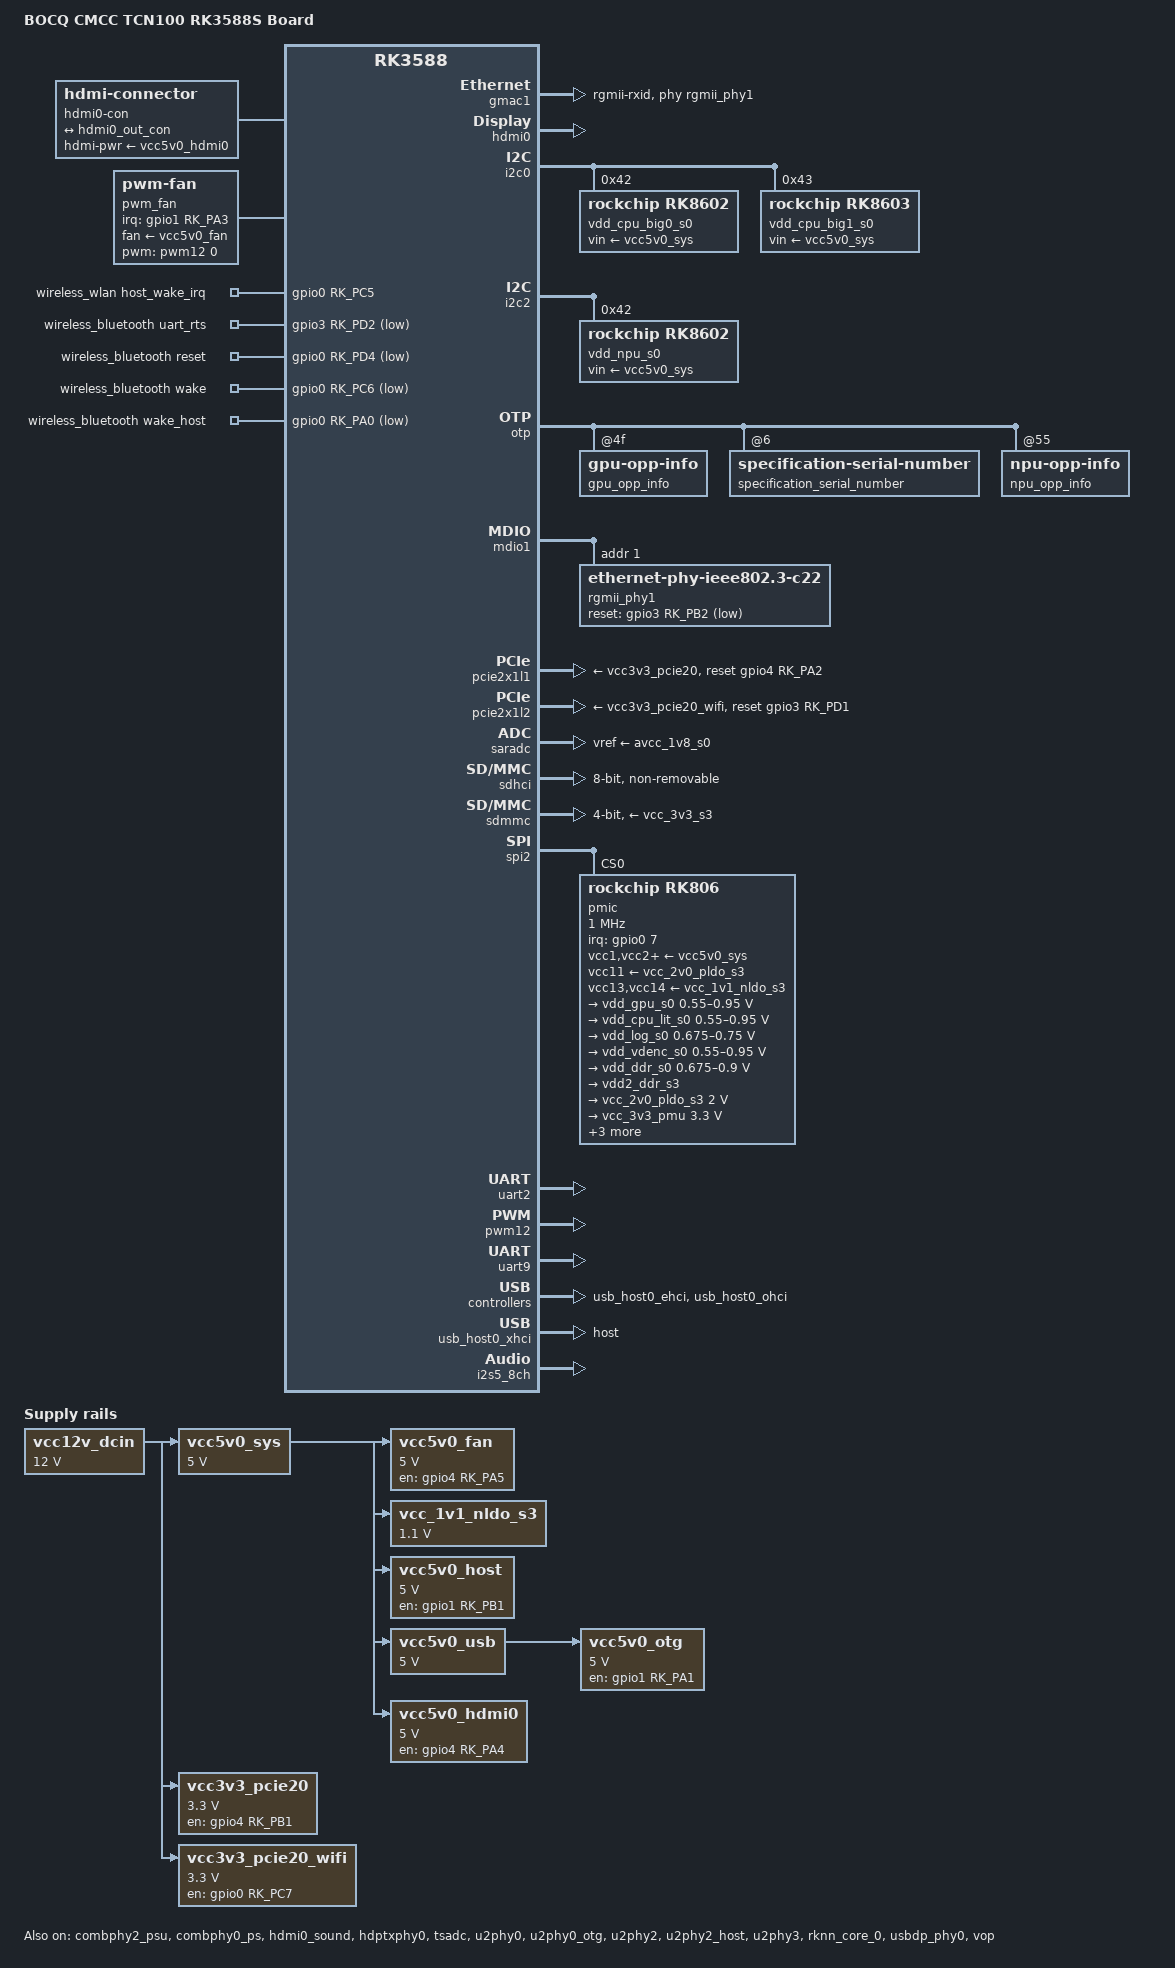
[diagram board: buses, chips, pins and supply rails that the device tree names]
// SPDX-License-Identifier: (GPL-2.0+ OR MIT)
/dts-v1/;

#include <dt-bindings/gpio/gpio.h>
#include <dt-bindings/pinctrl/rockchip.h>
#include <dt-bindings/pwm/pwm.h>
#include <dt-bindings/soc/rockchip,vop2.h>
#include "rk3588s.dtsi"
#include "rk3588-rk806-single.dtsi"
#include "rk3588-vngpu.dtsi"
#include "rk3588-vgnpu-supply.dtsi"
#include "rk3588-ramoops.dtsi"

/ {
	model = "BOCQ CMCC TCN100 RK3588S Board";
	compatible = "cmcc,tcn100", "rockchip,rk3588";

	aliases {
		ethernet0 = &gmac1;
		mmc0 = &sdhci;
		mmc1 = &sdmmc;
	};

	chosen {
		stdout-path = "serial2:1500000n8";
	};

	hdmi0-con {
		compatible = "hdmi-connector";
		type = "a";
		hdmi-pwr-supply = <&vcc5v0_hdmi0>;

		port {
			hdmi0_con_in: endpoint {
				remote-endpoint = <&hdmi0_out_con>;
			};
		};
	};

	vcc12v_dcin: regulator-vcc12v-dcin {
		compatible = "regulator-fixed";
		regulator-name = "vcc12v_dcin";
		regulator-min-microvolt = <12000000>;
		regulator-max-microvolt = <12000000>;
		regulator-always-on;
		regulator-boot-on;
	};

	vcc5v0_sys: regulator-vcc5v0-sys {
		compatible = "regulator-fixed";
		regulator-name = "vcc5v0_sys";
		regulator-min-microvolt = <5000000>;
		regulator-max-microvolt = <5000000>;
		regulator-always-on;
		regulator-boot-on;
		vin-supply = <&vcc12v_dcin>;
	};

	vcc5v0_fan: regulator-vcc5v0-fan {
		compatible = "regulator-fixed";
		regulator-name = "vcc5v0_fan";
		regulator-min-microvolt = <5000000>;
		regulator-max-microvolt = <5000000>;
		enable-active-high;
		regulator-boot-on;
		gpio = <&gpio4 RK_PA5 GPIO_ACTIVE_HIGH>;
		pinctrl-names = "default";
		pinctrl-0 = <&fan_en_pin>;
		vin-supply = <&vcc5v0_sys>;
	};

	vcc_1v1_nldo_s3: regulator-vcc-1v1-nldo-s3 {
		compatible = "regulator-fixed";
		regulator-name = "vcc_1v1_nldo_s3";
		regulator-always-on;
		regulator-boot-on;
		regulator-min-microvolt = <1100000>;
		regulator-max-microvolt = <1100000>;
		vin-supply = <&vcc5v0_sys>;
	};

	pwm_fan: pwm-fan {
		compatible = "pwm-fan";
		#cooling-cells = <2>;
		fan-supply = <&vcc5v0_fan>;
		pwms = <&pwm12 0 50000 PWM_POLARITY_INVERTED>;
		interrupt-parent = <&gpio1>;
		interrupts = <RK_PA3 IRQ_TYPE_EDGE_FALLING>;
		pulses-per-revolution = <2>;
		cooling-levels = <0 50 80 120 160 200 230 255>;
	};


	npu_grf: syscon@fd5a2000 {
		compatible = "rockchip,rk3588-npu-grf", "syscon";
		reg = <0x0 0xfd5a2000 0x0 0x100>;
	};

	npu_opp_table: npu-opp-table {
		compatible = "operating-points-v2";
		nvmem-cells = <&npu_leakage &npu_opp_info &cpu_code>;
		nvmem-cell-names = "leakage", "opp-info",
				   "specification_serial_number";
		rockchip,supported-hw;
		rockchip,pvtm-hw = <0x06>;
		rockchip,pvtm-voltage-sel-hw = <0x00 0x31f 0x00 0x320 0x333 0x01 0x334 0x34c
						0x02 0x34d 0x365 0x03 0x366 0x37e 0x04 0x37f
						0x270f 0x05>;
		rockchip,pvtm-voltage-sel = <0x00 0x32f 0x00 0x330 0x343 0x01 0x344 0x35c
					     0x02 0x35d 0x375 0x03 0x376 0x38e 0x04 0x38f
					     0x270f 0x05>;
		rockchip,pvtm-offset = <0x50>;
		rockchip,pvtm-sample-time = <0x44c>;
		rockchip,pvtm-freq = "\0\f5";
		rockchip,pvtm-volt = <0xb71b0>;
		rockchip,pvtm-ref-temp = <0x19>;
		rockchip,pvtm-temp-prop = <0xffffff8f 0xffffff8f>;
		rockchip,pvtm-thermal-zone = "npu-thermal";
		clocks = <&cru PCLK_NPU_ROOT>;
		clock-names = "pclk";
		rockchip,grf = <&npu_grf>;
		volt-mem-read-margin = <0xd0bd8 0x01 0xbac48 0x02 0xa4cb8 0x03 0x78d98 0x04>;
		low-volt-mem-read-margin = <0x04>;
		intermediate-threshold-freq = <0x7a120>;
		rockchip,init-freq = <0xf4240>;
		rockchip,temp-hysteresis = <0x1388>;
		rockchip,low-temp = <0x2710>;
		rockchip,low-temp-min-volt = <0xb71b0>;
		rockchip,high-temp = <0x14c08>;
		rockchip,high-temp-max-freq = "\0\f5";

		opp-300000000 {
			opp-supported-hw = <0xf9 0xffff>;
			opp-hz = <0x00 0x11e1a300>;
			opp-microvolt = <0xaae60 0xaae60 0xcf850 0xaae60 0xaae60 0xcf850>;
			opp-microvolt-L1 = <0xa7d8c 0xa7d8c 0xcf850 0xa7d8c 0xa7d8c 0xcf850>;
			opp-microvolt-L2 = <0xa4cb8 0xa4cb8 0xcf850 0xa4cb8 0xa4cb8 0xcf850>;
			opp-microvolt-L3 = <0xa4cb8 0xa4cb8 0xcf850 0xa4cb8 0xa4cb8 0xcf850>;
			opp-microvolt-L4 = <0xa4cb8 0xa4cb8 0xcf850 0xa4cb8 0xa4cb8 0xcf850>;
			opp-microvolt-L5 = <0xa4cb8 0xa4cb8 0xcf850 0xa4cb8 0xa4cb8 0xcf850>;
		};

		opp-400000000 {
			opp-supported-hw = <0xf9 0xffff>;
			opp-hz = <0x00 0x17d78400>;
			opp-microvolt = <0xaae60 0xaae60 0xcf850 0xaae60 0xaae60 0xcf850>;
			opp-microvolt-L1 = <0xa7d8c 0xa7d8c 0xcf850 0xa7d8c 0xa7d8c 0xcf850>;
			opp-microvolt-L2 = <0xa4cb8 0xa4cb8 0xcf850 0xa4cb8 0xa4cb8 0xcf850>;
			opp-microvolt-L3 = <0xa4cb8 0xa4cb8 0xcf850 0xa4cb8 0xa4cb8 0xcf850>;
			opp-microvolt-L4 = <0xa4cb8 0xa4cb8 0xcf850 0xa4cb8 0xa4cb8 0xcf850>;
			opp-microvolt-L5 = <0xa4cb8 0xa4cb8 0xcf850 0xa4cb8 0xa4cb8 0xcf850>;
		};

		opp-500000000 {
			opp-supported-hw = <0xf9 0xffff>;
			opp-hz = <0x00 0x1dcd6500>;
			opp-microvolt = <0xaae60 0xaae60 0xcf850 0xaae60 0xaae60 0xcf850>;
			opp-microvolt-L1 = <0xa7d8c 0xa7d8c 0xcf850 0xa7d8c 0xa7d8c 0xcf850>;
			opp-microvolt-L2 = <0xa4cb8 0xa4cb8 0xcf850 0xa4cb8 0xa4cb8 0xcf850>;
			opp-microvolt-L3 = <0xa4cb8 0xa4cb8 0xcf850 0xa4cb8 0xa4cb8 0xcf850>;
			opp-microvolt-L4 = <0xa4cb8 0xa4cb8 0xcf850 0xa4cb8 0xa4cb8 0xcf850>;
			opp-microvolt-L5 = <0xa4cb8 0xa4cb8 0xcf850 0xa4cb8 0xa4cb8 0xcf850>;
		};

		opp-600000000 {
			opp-supported-hw = <0xf9 0xffff>;
			opp-hz = <0x00 0x23c34600>;
			opp-microvolt = <0xaae60 0xaae60 0xcf850 0xaae60 0xaae60 0xcf850>;
			opp-microvolt-L1 = <0xa7d8c 0xa7d8c 0xcf850 0xa7d8c 0xa7d8c 0xcf850>;
			opp-microvolt-L2 = <0xa4cb8 0xa4cb8 0xcf850 0xa4cb8 0xa4cb8 0xcf850>;
			opp-microvolt-L3 = <0xa4cb8 0xa4cb8 0xcf850 0xa4cb8 0xa4cb8 0xcf850>;
			opp-microvolt-L4 = <0xa4cb8 0xa4cb8 0xcf850 0xa4cb8 0xa4cb8 0xcf850>;
			opp-microvolt-L5 = <0xa4cb8 0xa4cb8 0xcf850 0xa4cb8 0xa4cb8 0xcf850>;
		};

		opp-700000000 {
			opp-supported-hw = <0xf9 0xffff>;
			opp-hz = <0x00 0x29b92700>;
			opp-microvolt = <0xaae60 0xaae60 0xcf850 0xaae60 0xaae60 0xcf850>;
			opp-microvolt-L3 = <0xa7d8c 0xa7d8c 0xcf850 0xa7d8c 0xa7d8c 0xcf850>;
			opp-microvolt-L4 = <0xa4cb8 0xa4cb8 0xcf850 0xa4cb8 0xa4cb8 0xcf850>;
			opp-microvolt-L5 = <0xa4cb8 0xa4cb8 0xcf850 0xa4cb8 0xa4cb8 0xcf850>;
		};

		opp-800000000 {
			opp-supported-hw = <0xf9 0xffff>;
			opp-hz = <0x00 0x2faf0800>;
			opp-microvolt = <0xb71b0 0xb71b0 0xcf850 0xb71b0 0xb71b0 0xcf850>;
			opp-microvolt-L2 = <0xb40dc 0xb40dc 0xcf850 0xb40dc 0xb40dc 0xcf850>;
			opp-microvolt-L3 = <0xb1008 0xb1008 0xcf850 0xb1008 0xb1008 0xcf850>;
			opp-microvolt-L4 = <0xadf34 0xadf34 0xcf850 0xadf34 0xadf34 0xcf850>;
			opp-microvolt-L5 = <0xaae60 0xaae60 0xcf850 0xaae60 0xaae60 0xcf850>;
		};

		opp-900000000 {
			opp-supported-hw = <0xf9 0xffff>;
			opp-hz = <0x00 0x35a4e900>;
			opp-microvolt = <0xc3500 0xc3500 0xcf850 0xc3500 0xc3500 0xcf850>;
			opp-microvolt-L1 = <0xc042c 0xc042c 0xcf850 0xc042c 0xc042c 0xcf850>;
			opp-microvolt-L2 = <0xbd358 0xbd358 0xcf850 0xbd358 0xbd358 0xcf850>;
			opp-microvolt-L3 = <0xba284 0xba284 0xcf850 0xba284 0xba284 0xcf850>;
			opp-microvolt-L4 = <0xb71b0 0xb71b0 0xcf850 0xb71b0 0xb71b0 0xcf850>;
			opp-microvolt-L5 = <0xb40dc 0xb40dc 0xcf850 0xb40dc 0xb40dc 0xcf850>;
		};

		opp-1000000000 {
			opp-supported-hw = <0xf9 0xffff>;
			opp-hz = <0x00 0x3b9aca00>;
			opp-microvolt = <0xcf850 0xcf850 0xcf850 0xcf850 0xcf850 0xcf850>;
			opp-microvolt-L1 = <0xcc77c 0xcc77c 0xcf850 0xcc77c 0xcc77c 0xcf850>;
			opp-microvolt-L2 = <0xc96a8 0xc96a8 0xcf850 0xc96a8 0xc96a8 0xcf850>;
			opp-microvolt-L3 = <0xc65d4 0xc65d4 0xcf850 0xc65d4 0xc65d4 0xcf850>;
			opp-microvolt-L4 = <0xc3500 0xc3500 0xcf850 0xc3500 0xc3500 0xcf850>;
			opp-microvolt-L5 = <0xc042c 0xc042c 0xcf850 0xc042c 0xc042c 0xcf850>;
		};

		opp-j-m-300000000 {
			opp-supported-hw = <0x06 0xffff>;
			opp-hz = <0x00 0x11e1a300>;
			opp-microvolt = <0xb71b0 0xb71b0 0xcf850 0xb71b0 0xb71b0 0xcf850>;
		};

		opp-j-m-400000000 {
			opp-supported-hw = <0x06 0xffff>;
			opp-hz = <0x00 0x17d78400>;
			opp-microvolt = <0xb71b0 0xb71b0 0xcf850 0xb71b0 0xb71b0 0xcf850>;
		};

		opp-j-m-500000000 {
			opp-supported-hw = <0x06 0xffff>;
			opp-hz = <0x00 0x1dcd6500>;
			opp-microvolt = <0xb71b0 0xb71b0 0xcf850 0xb71b0 0xb71b0 0xcf850>;
		};

		opp-j-m-600000000 {
			opp-supported-hw = <0x06 0xffff>;
			opp-hz = <0x00 0x23c34600>;
			opp-microvolt = <0xb71b0 0xb71b0 0xcf850 0xb71b0 0xb71b0 0xcf850>;
		};

		opp-j-m-700000000 {
			opp-supported-hw = <0x06 0xffff>;
			opp-hz = <0x00 0x29b92700>;
			opp-microvolt = <0xb71b0 0xb71b0 0xcf850 0xb71b0 0xb71b0 0xcf850>;
		};

		opp-j-m-800000000 {
			opp-supported-hw = <0x06 0xffff>;
			opp-hz = <0x00 0x2faf0800>;
			opp-microvolt = <0xb71b0 0xb71b0 0xcf850 0xb71b0 0xb71b0 0xcf850>;
		};

		opp-j-m-950000000 {
			opp-supported-hw = <0x06 0xffff>;
			opp-hz = <0x00 0x389fd980>;
			opp-microvolt = <0xcc77c 0xcc77c 0xcf850 0xcc77c 0xcc77c 0xcf850>;
			opp-microvolt-L1 = <0xc96a8 0xc96a8 0xcf850 0xc96a8 0xc96a8 0xcf850>;
			opp-microvolt-L2 = <0xc65d4 0xc65d4 0xcf850 0xc65d4 0xc65d4 0xcf850>;
			opp-microvolt-L3 = <0xc3500 0xc3500 0xcf850 0xc3500 0xc3500 0xcf850>;
			opp-microvolt-L4 = <0xc042c 0xc042c 0xcf850 0xc042c 0xc042c 0xcf850>;
			opp-microvolt-L5 = <0xbd358 0xbd358 0xcf850 0xbd358 0xbd358 0xcf850>;
		};
	};

	vcc5v0_host: regulator-vcc5v0-host {
		compatible = "regulator-fixed";
		regulator-name = "vcc5v0_host";
		regulator-min-microvolt = <5000000>;
		regulator-max-microvolt = <5000000>;
		regulator-always-on;
		regulator-boot-on;
		enable-active-high;
		gpio = <&gpio1 RK_PB1 GPIO_ACTIVE_HIGH>;
		pinctrl-names = "default";
		pinctrl-0 = <&vcc5v0_host_en>;
		vin-supply = <&vcc5v0_sys>;
	};

	vcc5v0_otg: regulator-vcc5v0-otg {
		compatible = "regulator-fixed";
		regulator-name = "vcc5v0_otg";
		regulator-min-microvolt = <5000000>;
		regulator-max-microvolt = <5000000>;
		enable-active-high;
		regulator-boot-on;
		regulator-always-on;
		vin-supply = <&vcc5v0_usb>;
		gpio = <&gpio1 RK_PA1 GPIO_ACTIVE_HIGH>;
		pinctrl-names = "default";
		pinctrl-0 = <&vcc5v0_otg_en>;
	};
	vcc5v0_usb: regulator-vcc5v0-usb {
		compatible = "regulator-fixed";
		regulator-name = "vcc5v0_usb";
		regulator-min-microvolt = <5000000>;
		regulator-max-microvolt = <5000000>;
		regulator-always-on;
		regulator-boot-on;
		vin-supply = <&vcc5v0_sys>;
	};

	vcc3v3_pcie20: regulator-vcc3v3-pcie20 {
		compatible = "regulator-fixed";
		regulator-name = "vcc3v3_pcie20";
		regulator-min-microvolt = <3300000>;
		regulator-max-microvolt = <3300000>;
		enable-active-high;
		gpios = <&gpio4 RK_PB1 GPIO_ACTIVE_HIGH>;
		startup-delay-us = <5000>;
		vin-supply = <&vcc12v_dcin>;
	};

	vcc3v3_pcie20_wifi: regulator-vcc3v3-pcie20-wifi {
		compatible = "regulator-fixed";
		regulator-name = "vcc3v3_pcie20_wifi";
		regulator-min-microvolt = <3300000>;
		regulator-max-microvolt = <3300000>;
		enable-active-high;
		gpio = <&gpio0 RK_PC7 GPIO_ACTIVE_HIGH>;
		startup-delay-us = <5000>;
		vin-supply = <&vcc12v_dcin>;
	};

	vcc5v0_hdmi0: regulator-vcc5v0-hdmi0 {
		compatible = "regulator-fixed";
		regulator-name = "vcc5v0_hdmi0";
		regulator-min-microvolt = <5000000>;
		regulator-max-microvolt = <5000000>;
		enable-active-high;
		regulator-boot-on;
		regulator-always-on;
		gpio = <&gpio4 RK_PA4 GPIO_ACTIVE_HIGH>;
		pinctrl-names = "default";
		pinctrl-0 = <&hdmi0_pwr_en>;
		vin-supply = <&vcc5v0_sys>;
	};

	wireless_wlan: wireless-wlan {
		compatible = "wlan-platdata";
		wifi_chip_type = "rtl8852be";
		pinctrl-names = "default";
		pinctrl-0 = <&wifi_host_wake_irq>;
		WIFI,host_wake_irq = <&gpio0 RK_PC5 GPIO_ACTIVE_HIGH>;
		status = "okay";
	};

	wireless_bluetooth: wireless-bluetooth {
		compatible = "bluetooth-platdata";
		uart_rts_gpios = <&gpio3 RK_PD2 GPIO_ACTIVE_LOW>;
		pinctrl-names = "default", "rts_gpio";
		pinctrl-0 = <&uart9m2_xfer &bt_reset_gpio &bt_wake_gpio &bt_irq_gpio>;
		pinctrl-1 = <&uart9m2_gpios>;
		uart-handle = <&uart9>;
		BT,reset_gpio = <&gpio0 RK_PD4 GPIO_ACTIVE_LOW>;
		BT,wake_gpio = <&gpio0 RK_PC6 GPIO_ACTIVE_LOW>;
		BT,wake_host_gpio = <&gpio0 RK_PA0 GPIO_ACTIVE_LOW>;
		status = "okay";
	};
};

&combphy2_psu {
	status = "okay";
};

&combphy0_ps {
	status = "okay";
};

&cpu_b0 {
	cpu-supply = <&vdd_cpu_big0_s0>;
};

&cpu_b1 {
	cpu-supply = <&vdd_cpu_big0_s0>;
};

&cpu_b2 {
	cpu-supply = <&vdd_cpu_big1_s0>;
};

&cpu_b3 {
	cpu-supply = <&vdd_cpu_big1_s0>;
};

&cpu_l0 {
	cpu-supply = <&vdd_cpu_lit_s0>;
};

&cpu_l1 {
	cpu-supply = <&vdd_cpu_lit_s0>;
};

&cpu_l2 {
	cpu-supply = <&vdd_cpu_lit_s0>;
};

&cpu_l3 {
	cpu-supply = <&vdd_cpu_lit_s0>;
};


&gpu_opp_table {
	compatible = "operating-points-v2";
	nvmem-cells = <&gpu_leakage &gpu_opp_info &cpu_code>;
	nvmem-cell-names = "leakage", "opp-info",
			   "specification_serial_number";
	/delete-property/ rockchip,supported-hw;
	rockchip,pvtm-hw = <0x04>;
	rockchip,pvtm-voltage-sel-hw = <0x00 0x31f 0x00 0x320 0x333 0x01 0x334 0x34c
					0x02 0x34d 0x365 0x03 0x366 0x37e 0x04 0x37f
					0x270f 0x05>;
	rockchip,pvtm-voltage-sel = <0x00 0x32f 0x00 0x330 0x343 0x01 0x344 0x35c
				     0x02 0x35d 0x375 0x03 0x376 0x38e 0x04 0x38f
				     0x270f 0x05>;
	rockchip,pvtm-pvtpll;
	rockchip,pvtm-offset = <0x1c>;
	rockchip,pvtm-sample-time = <0x44c>;
	rockchip,pvtm-freq = "\0\f5";
	rockchip,pvtm-volt = <0xb71b0>;
	rockchip,pvtm-ref-temp = <0x19>;
	rockchip,pvtm-temp-prop = <0xffffff79 0xffffff79>;
	rockchip,pvtm-thermal-zone = "gpu-thermal";
	clocks = <&cru CLK_GPU>;
	clock-names = "clk";
	rockchip,grf = <&sys_grf>;
	volt-mem-read-margin = <0xd0bd8 0x01 0xbac48 0x02 0xa4cb8 0x03 0x78d98 0x04>;
	low-volt-mem-read-margin = <0x04>;
	intermediate-threshold-freq = <0x61a80>;
	rockchip,temp-hysteresis = <0x1388>;
	rockchip,low-temp = <0x2710>;
	rockchip,low-temp-min-volt = <0xb71b0>;
	rockchip,high-temp = <0x14c08>;
	rockchip,high-temp-max-freq = "\0\f5";

	/delete-node/ opp-300000000;
	/delete-node/ opp-400000000;
	/delete-node/ opp-500000000;
	/delete-node/ opp-600000000;
	/delete-node/ opp-700000000;
	/delete-node/ opp-800000000;
	/delete-node/ opp-900000000;
	/delete-node/ opp-1000000000;

	opp-300000000 {
		/delete-property/ opp-supported-hw;
		opp-hz = /bits/ 64 <300000000>;
		opp-microvolt = <0xa4cb8 0xa4cb8 0xcf850 0xa4cb8 0xa4cb8 0xcf850>;
	};

	opp-400000000 {
		/delete-property/ opp-supported-hw;
		opp-hz = /bits/ 64 <400000000>;
		opp-microvolt = <0xa4cb8 0xa4cb8 0xcf850 0xa4cb8 0xa4cb8 0xcf850>;
	};

	opp-500000000 {
		/delete-property/ opp-supported-hw;
		opp-hz = /bits/ 64 <500000000>;
		opp-microvolt = <0xa4cb8 0xa4cb8 0xcf850 0xa4cb8 0xa4cb8 0xcf850>;
	};

	opp-600000000 {
		/delete-property/ opp-supported-hw;
		opp-hz = /bits/ 64 <600000000>;
		opp-microvolt = <0xa4cb8 0xa4cb8 0xcf850 0xa4cb8 0xa4cb8 0xcf850>;
	};

	opp-700000000 {
		/delete-property/ opp-supported-hw;
		opp-hz = /bits/ 64 <700000000>;
		opp-microvolt = <0xaae60 0xaae60 0xcf850 0xaae60 0xaae60 0xcf850>;
		opp-microvolt-L2 = <0xa7d8c 0xa7d8c 0xcf850 0xa7d8c 0xa7d8c 0xcf850>;
		opp-microvolt-L3 = <0xa4cb8 0xa4cb8 0xcf850 0xa4cb8 0xa4cb8 0xcf850>;
		opp-microvolt-L4 = <0xa4cb8 0xa4cb8 0xcf850 0xa4cb8 0xa4cb8 0xcf850>;
		opp-microvolt-L5 = <0xa4cb8 0xa4cb8 0xcf850 0xa4cb8 0xa4cb8 0xcf850>;
	};

	opp-800000000 {
		/delete-property/ opp-supported-hw;
		opp-hz = /bits/ 64 <800000000>;
		opp-microvolt = <0xb71b0 0xb71b0 0xcf850 0xb71b0 0xb71b0 0xcf850>;
		opp-microvolt-L1 = <0xb40dc 0xb40dc 0xcf850 0xb40dc 0xb40dc 0xcf850>;
		opp-microvolt-L2 = <0xb1008 0xb1008 0xcf850 0xb1008 0xb1008 0xcf850>;
		opp-microvolt-L3 = <0xadf34 0xadf34 0xcf850 0xadf34 0xadf34 0xcf850>;
		opp-microvolt-L4 = <0xaae60 0xaae60 0xcf850 0xaae60 0xaae60 0xcf850>;
		opp-microvolt-L5 = <0xaae60 0xaae60 0xcf850 0xaae60 0xaae60 0xcf850>;
	};

	opp-900000000 {
		/delete-property/ opp-supported-hw;
		opp-hz = /bits/ 64 <900000000>;
		opp-microvolt = <0xc3500 0xc3500 0xcf850 0xc3500 0xc3500 0xcf850>;
		opp-microvolt-L1 = <0xc042c 0xc042c 0xcf850 0xc042c 0xc042c 0xcf850>;
		opp-microvolt-L2 = <0xbd358 0xbd358 0xcf850 0xbd358 0xbd358 0xcf850>;
		opp-microvolt-L3 = <0xba284 0xba284 0xcf850 0xba284 0xba284 0xcf850>;
		opp-microvolt-L4 = <0xb71b0 0xb71b0 0xcf850 0xb71b0 0xb71b0 0xcf850>;
		opp-microvolt-L5 = <0xb40dc 0xb40dc 0xcf850 0xb40dc 0xb40dc 0xcf850>;
	};

	opp-1000000000 {
		/delete-property/ opp-supported-hw;
		opp-hz = /bits/ 64 <1000000000>;
		opp-microvolt = <0xcf850 0xcf850 0xcf850 0xcf850 0xcf850 0xcf850>;
		opp-microvolt-L1 = <0xcc77c 0xcc77c 0xcf850 0xcc77c 0xcc77c 0xcf850>;
		opp-microvolt-L2 = <0xc96a8 0xc96a8 0xcf850 0xc96a8 0xc96a8 0xcf850>;
		opp-microvolt-L3 = <0xc65d4 0xc65d4 0xcf850 0xc65d4 0xc65d4 0xcf850>;
		opp-microvolt-L4 = <0xc3500 0xc3500 0xcf850 0xc3500 0xc3500 0xcf850>;
		opp-microvolt-L5 = <0xc042c 0xc042c 0xcf850 0xc042c 0xc042c 0xcf850>;
	};

	opp-j-m-300000000 {
		/delete-property/ opp-supported-hw;
		opp-hz = /bits/ 64 <300000000>;
		opp-microvolt = <0xb71b0 0xb71b0 0xcf850 0xb71b0 0xb71b0 0xcf850>;
	};

	opp-j-m-400000000 {
		/delete-property/ opp-supported-hw;
		opp-hz = /bits/ 64 <400000000>;
		opp-microvolt = <0xb71b0 0xb71b0 0xcf850 0xb71b0 0xb71b0 0xcf850>;
	};

	opp-j-m-500000000 {
		/delete-property/ opp-supported-hw;
		opp-hz = /bits/ 64 <500000000>;
		opp-microvolt = <0xb71b0 0xb71b0 0xcf850 0xb71b0 0xb71b0 0xcf850>;
	};

	opp-j-m-600000000 {
		/delete-property/ opp-supported-hw;
		opp-hz = /bits/ 64 <600000000>;
		opp-microvolt = <0xb71b0 0xb71b0 0xcf850 0xb71b0 0xb71b0 0xcf850>;
	};

	opp-j-m-700000000 {
		/delete-property/ opp-supported-hw;
		opp-hz = /bits/ 64 <700000000>;
		opp-microvolt = <0xb71b0 0xb71b0 0xcf850 0xb71b0 0xb71b0 0xcf850>;
	};

	opp-j-850000000 {
		/delete-property/ opp-supported-hw;
		opp-hz = /bits/ 64 <850000000>;
		opp-microvolt = <0xc042c 0xc042c 0xcf850 0xc042c 0xc042c 0xcf850>;
		opp-microvolt-L1 = <0xbd358 0xbd358 0xcf850 0xbd358 0xbd358 0xcf850>;
		opp-microvolt-L2 = <0xba284 0xba284 0xcf850 0xba284 0xba284 0xcf850>;
		opp-microvolt-L3 = <0xb71b0 0xb71b0 0xcf850 0xb71b0 0xb71b0 0xcf850>;
		opp-microvolt-L4 = <0xb71b0 0xb71b0 0xcf850 0xb71b0 0xb71b0 0xcf850>;
		opp-microvolt-L5 = <0xb71b0 0xb71b0 0xcf850 0xb71b0 0xb71b0 0xcf850>;
	};

	opp-m-800000000 {
		/delete-property/ opp-supported-hw;
		opp-hz = /bits/ 64 <800000000>;
		opp-microvolt = <0xb71b0 0xb71b0 0xcf850 0xb71b0 0xb71b0 0xcf850>;
	};

	opp-m-900000000 {
		/delete-property/ opp-supported-hw;
		opp-hz = /bits/ 64 <900000000>;
		opp-microvolt = <0xc3500 0xc3500 0xcf850 0xc3500 0xc3500 0xcf850>;
		opp-microvolt-L1 = <0xc042c 0xc042c 0xcf850 0xc042c 0xc042c 0xcf850>;
		opp-microvolt-L2 = <0xbd358 0xbd358 0xcf850 0xbd358 0xbd358 0xcf850>;
		opp-microvolt-L3 = <0xba284 0xba284 0xcf850 0xba284 0xba284 0xcf850>;
		opp-microvolt-L4 = <0xb71b0 0xb71b0 0xcf850 0xb71b0 0xb71b0 0xcf850>;
		opp-microvolt-L5 = <0xb71b0 0xb71b0 0xcf850 0xb71b0 0xb71b0 0xcf850>;
	};

	opp-m-1000000000 {
		/delete-property/ opp-supported-hw;
		opp-hz = /bits/ 64 <1000000000>;
		opp-microvolt = <0xcf850 0xcf850 0xcf850 0xcf850 0xcf850 0xcf850>;
		opp-microvolt-L1 = <0xcc77c 0xcc77c 0xcf850 0xcc77c 0xcc77c 0xcf850>;
		opp-microvolt-L2 = <0xc96a8 0xc96a8 0xcf850 0xc96a8 0xc96a8 0xcf850>;
		opp-microvolt-L3 = <0xc65d4 0xc65d4 0xcf850 0xc65d4 0xc65d4 0xcf850>;
		opp-microvolt-L4 = <0xc3500 0xc3500 0xcf850 0xc3500 0xc3500 0xcf850>;
		opp-microvolt-L5 = <0xc042c 0xc042c 0xcf850 0xc042c 0xc042c 0xcf850>;
	};
};

&gmac1 {
	clock_in_out = "output";
	phy-handle = <&rgmii_phy1>;
	phy-mode = "rgmii-rxid";
	pinctrl-0 = <&gmac1_miim
		     &gmac1_tx_bus2
		     &gmac1_rx_bus2
		     &gmac1_rgmii_clk
		     &gmac1_rgmii_bus>;
	pinctrl-names = "default";
	tx_delay = <0x45>;
	status = "okay";
};

&hdmi0 {
	pinctrl-0 = <&hdmim0_tx0_cec
		     &hdmim0_tx0_hpd
		     &hdmim0_tx0_scl
		     &hdmim0_tx0_sda>;
	pinctrl-names = "default";
	enable-gpios = <&gpio4 RK_PB2 GPIO_ACTIVE_HIGH>;
	status = "okay";
};

&hdmi0_in {
	hdmi0_in_vp0: endpoint {
		remote-endpoint = <&vp0_out_hdmi0>;
	};
};

&hdmi0_out {
	hdmi0_out_con: endpoint {
		remote-endpoint = <&hdmi0_con_in>;
	};
};

&hdmi0_sound {
	status = "okay";
};

&hdptxphy0 {
	status = "okay";
};

&i2c0 {
	pinctrl-names = "default";
	pinctrl-0 = <&i2c0m2_xfer>;
	status = "okay";

	vdd_cpu_big0_s0: regulator@42 {
		compatible = "rockchip,rk8602";
		reg = <0x42>;
		fcs,suspend-voltage-selector = <1>;
		regulator-name = "vdd_cpu_big0_s0";
		regulator-always-on;
		regulator-boot-on;
		regulator-min-microvolt = <550000>;
		regulator-max-microvolt = <1050000>;
		regulator-ramp-delay = <2300>;
		vin-supply = <&vcc5v0_sys>;

		regulator-state-mem {
			regulator-off-in-suspend;
		};
	};

	vdd_cpu_big1_s0: regulator@43 {
		compatible = "rockchip,rk8603", "rockchip,rk8602";
		reg = <0x43>;
		fcs,suspend-voltage-selector = <1>;
		regulator-name = "vdd_cpu_big1_s0";
		regulator-always-on;
		regulator-boot-on;
		regulator-min-microvolt = <550000>;
		regulator-max-microvolt = <1050000>;
		regulator-ramp-delay = <2300>;
		vin-supply = <&vcc5v0_sys>;

		regulator-state-mem {
			regulator-off-in-suspend;
		};
	};
};

&i2c2 {
	status = "okay";

	vdd_npu_s0: vdd_npu_mem_s0: regulator@42 {
		compatible = "rockchip,rk8602";
		reg = <0x42>;
		fcs,suspend-voltage-selector = <1>;
		regulator-name = "vdd_npu_s0";
		regulator-always-on;
		regulator-boot-on;
		regulator-min-microvolt = <550000>;
		regulator-max-microvolt = <950000>;
		regulator-ramp-delay = <2300>;
		vin-supply = <&vcc5v0_sys>;

		regulator-state-mem {
			regulator-off-in-suspend;
		};
	};
};

&otp {
	gpu_opp_info: gpu-opp-info@4f {
		reg = <0x4f 0x1>;
	};

	specification_serial_number: specification-serial-number@6 {
		reg = <0x06 0x1>;
		bits = <0x0 0x5>;
	};

	npu_opp_info: npu-opp-info@55 {
		reg = <0x55 0x1>;
	};
};

&mdio1 {
	rgmii_phy1: ethernet-phy@1 {
		compatible = "ethernet-phy-ieee802.3-c22";
		reg = <0x1>;
		reset-assert-us = <20000>;
		reset-deassert-us = <100000>;
		reset-gpios = <&gpio3 RK_PB2 GPIO_ACTIVE_LOW>;
	};
};

&pcie2x1l1 {
	reset-gpios = <&gpio4 RK_PA2 GPIO_ACTIVE_HIGH>;
	vpcie3v3-supply = <&vcc3v3_pcie20>;
	status = "okay";
};

&pcie2x1l2 {
	reset-gpios = <&gpio3 RK_PD1 GPIO_ACTIVE_HIGH>;
	vpcie3v3-supply = <&vcc3v3_pcie20_wifi>;
	status = "okay";
};

&pinctrl {
	hdmi {
		hdmi0_pwr_en: hdmi0-pwr-en {
			rockchip,pins = <4 RK_PA4 RK_FUNC_GPIO &pcfg_pull_none>;
		};
	};

	usb {
		vcc5v0_otg_en: vcc5v0-otg-en {
			rockchip,pins = <1 RK_PA1 RK_FUNC_GPIO &pcfg_pull_none>;
		};

		vcc5v0_host_en: vcc5v0-host-en {
			rockchip,pins = <1 RK_PB1 RK_FUNC_GPIO &pcfg_pull_none>;
		};
	};

	fan {
		fan_en_pin: vcc5v0-fan-en {
			rockchip,pins = <4 RK_PA5 RK_FUNC_GPIO &pcfg_pull_none>;
		};
	};

	wireless-wlan {
		wifi_host_wake_irq: wifi-host-wake-irq {
			rockchip,pins = <0 RK_PC5 RK_FUNC_GPIO &pcfg_pull_none>;
		};
	};

	wireless-bluetooth {
		uart9m2_gpios: uart9m2-gpios {
			rockchip,pins = <3 RK_PD2 RK_FUNC_GPIO &pcfg_pull_none>;
		};

		bt_reset_gpio: bt-reset-gpio {
			rockchip,pins = <0 RK_PD4 RK_FUNC_GPIO &pcfg_pull_none>;
		};

		bt_wake_gpio: bt-wake-gpio {
			rockchip,pins = <0 RK_PC6 RK_FUNC_GPIO &pcfg_pull_none>;
		};

		bt_irq_gpio: bt-irq-gpio {
			rockchip,pins = <0 RK_PA0 RK_FUNC_GPIO &pcfg_pull_none>;
		};
	};
};

&saradc {
	vref-supply = <&avcc_1v8_s0>;
	status = "okay";
};

&tsadc {
	rockchip,grf = <&sys_grf>;
	status = "okay";
};

&thermal_zones {
	/delete-node/ package-thermal;
	/delete-node/ cpu-thermal;
	/delete-node/ bigcore0-thermal;
	/delete-node/ bigcore2-thermal;
	/delete-node/ littlecore-thermal;
	/delete-node/ center-thermal;
	/delete-node/ gpu-thermal;
	/delete-node/ npu-thermal;

	cpu-thermal {
		polling-delay-passive = <0>;
		polling-delay = <1000>;
		thermal-sensors = <&tsadc 0>;

		trips {
			package-crit {
				temperature = <115000>;
				hysteresis = <0>;
				type = "critical";
			};

			package_fan0: package-fan0 {
				temperature = <40000>;
				hysteresis = <2000>;
				type = "active";
			};



			package_fan2: package-fan2 {
				temperature = <70000>;
				hysteresis = <2000>;
				type = "active";
			};

			package_fan3: package-fan3 {
				temperature = <80000>;
				hysteresis = <2000>;
				type = "active";
			};
			package_fan1: package-fan1 {
				temperature = <60000>;
				hysteresis = <2000>;
				type = "active";
			};
		};

		cooling-maps {
			map0 {
				trip = <&package_fan0>;
				cooling-device = <&pwm_fan 0 2>;
			};

			map1 {
				trip = <&package_fan1>;
				cooling-device = <&pwm_fan 3 4>;
			};

			map2 {
				trip = <&package_fan2>;
				cooling-device = <&pwm_fan 5 6>;
			};

			map3 {
				trip = <&package_fan3>;
				cooling-device = <&pwm_fan 7 7>;
			};

		};
	};

	bigcore0-thermal {
		polling-delay-passive = <100>;
		polling-delay = <0>;
		thermal-sensors = <&tsadc 1>;

		trips {
			bigcore0-alert {
				temperature = <85000>;
				hysteresis = <2000>;
				type = "passive";
				phandle = <0x102>;
			};

			bigcore0-crit {
				temperature = <115000>;
				hysteresis = <0>;
				type = "critical";
			};
		};

		cooling-maps {
			map0 {
				trip = <0x102>;
				cooling-device = <&cpu_b0 0xffffffff 0xffffffff
						  &cpu_b1 0xffffffff 0xffffffff>;
			};
		};
	};

	bigcore2-thermal {
		polling-delay-passive = <100>;
		polling-delay = <0>;
		thermal-sensors = <&tsadc 2>;

		trips {
			bigcore2-alert {
				temperature = <85000>;
				hysteresis = <2000>;
				type = "passive";
				phandle = <0x103>;
			};

			bigcore2-crit {
				temperature = <115000>;
				hysteresis = <0>;
				type = "critical";
			};
		};

		cooling-maps {
			map0 {
				trip = <0x103>;
				cooling-device = <&cpu_b2 0xffffffff 0xffffffff
						  &cpu_b3 0xffffffff 0xffffffff>;
			};
		};
	};

	littlecore-thermal {
		polling-delay-passive = <100>;
		polling-delay = <0>;
		thermal-sensors = <&tsadc 3>;

		trips {
			littlecore-alert {
				temperature = <85000>;
				hysteresis = <2000>;
				type = "passive";
				phandle = <0x104>;
			};

			littlecore-crit {
				temperature = <115000>;
				hysteresis = <0>;
				type = "critical";
			};
		};

		cooling-maps {
			map0 {
				trip = <0x104>;
				cooling-device = <&cpu_l0 0xffffffff 0xffffffff
						  &cpu_l1 0xffffffff 0xffffffff
						  &cpu_l2 0xffffffff 0xffffffff
						  &cpu_l3 0xffffffff 0xffffffff>;
			};
		};
	};

	center-thermal {
		polling-delay-passive = <0>;
		polling-delay = <0>;
		thermal-sensors = <&tsadc 4>;

		trips {
			center-crit {
				temperature = <115000>;
				hysteresis = <0>;
				type = "critical";
			};
		};
	};

	gpu-thermal {
		polling-delay-passive = <100>;
		polling-delay = <0>;
		thermal-sensors = <&tsadc 5>;

		trips {
			gpu-alert {
				temperature = <85000>;
				hysteresis = <2000>;
				type = "passive";
				phandle = <0x105>;
			};

			gpu-crit {
				temperature = <115000>;
				hysteresis = <0>;
				type = "critical";
			};
		};

		cooling-maps {
			map0 {
				trip = <0x105>;
				cooling-device = <&gpu 0xffffffff 0xffffffff>;
			};
		};
	};

	npu-thermal {
		polling-delay-passive = <0>;
		polling-delay = <0>;
		thermal-sensors = <&tsadc 6>;

		trips {
			npu-crit {
				temperature = <115000>;
				hysteresis = <0>;
				type = "critical";
			};
		};
	};
};

&sdhci {
	bus-width = <8>;
	no-sdio;
	no-sd;
	non-removable;
	max-frequency = <200000000>;
	mmc-hs400-1_8v;
	mmc-hs400-enhanced-strobe;
	status = "okay";
};

&sdmmc {
	bus-width = <4>;
	cap-mmc-highspeed;
	cap-sd-highspeed;
	disable-wp;
	max-frequency = <200000000>;
	no-mmc;
	no-sdio;
	sd-uhs-sdr104;
	vmmc-supply = <&vcc_3v3_s3>;
	vqmmc-supply = <&vccio_sd_s0>;
	status = "okay";
};

&spi2 {
	status = "okay";
	assigned-clocks = <&cru CLK_SPI2>;
	assigned-clock-rates = <200000000>;
	num-cs = <1>;
	pinctrl-names = "default";
	pinctrl-0 = <&spi2m2_cs0 &spi2m2_pins>;

	pmic@0 {
		compatible = "rockchip,rk806";
		reg = <0>;
		interrupt-parent = <&gpio0>;
		interrupts = <7 IRQ_TYPE_LEVEL_LOW>;
		pinctrl-names = "default", "pmic-power-off";
		pinctrl-0 = <&pmic_pins>, <&rk806_dvs1_null>,
			    <&rk806_dvs2_null>, <&rk806_dvs3_null>;
		pinctrl-1 = <&rk806_dvs1_slp>, <&rk806_dvs2_slp>, <&rk806_dvs3_slp>;
		spi-max-frequency = <1000000>;
		system-power-controller;

		vcc1-supply = <&vcc5v0_sys>;
		vcc2-supply = <&vcc5v0_sys>;
		vcc3-supply = <&vcc5v0_sys>;
		vcc4-supply = <&vcc5v0_sys>;
		vcc5-supply = <&vcc5v0_sys>;
		vcc6-supply = <&vcc5v0_sys>;
		vcc7-supply = <&vcc5v0_sys>;
		vcc8-supply = <&vcc5v0_sys>;
		vcc9-supply = <&vcc5v0_sys>;
		vcc10-supply = <&vcc5v0_sys>;
		vcc11-supply = <&vcc_2v0_pldo_s3>;
		vcc12-supply = <&vcc5v0_sys>;
		vcc13-supply = <&vcc_1v1_nldo_s3>;
		vcc14-supply = <&vcc_1v1_nldo_s3>;
		vcca-supply = <&vcc5v0_sys>;

		gpio-controller;
		#gpio-cells = <2>;

		pwrkey {
			status = "okay";
		};

		rk806_dvs1_null: dvs1-null-pins {
			pins = "gpio_pwrctrl1";
			function = "pin_fun0";
		};

		rk806_dvs1_slp: dvs1-slp-pins {
			pins = "gpio_pwrctrl1";
			function = "pin_fun1";
		};

		rk806_dvs2_null: dvs2-null-pins {
			pins = "gpio_pwrctrl2";
			function = "pin_fun0";
		};

		rk806_dvs2_slp: dvs2-slp-pins {
			pins = "gpio_pwrctrl2";
			function = "pin_fun1";
		};

		rk806_dvs3_null: dvs3-null-pins {
			pins = "gpio_pwrctrl3";
			function = "pin_fun0";
		};

		rk806_dvs3_slp: dvs3-slp-pins {
			pins = "gpio_pwrctrl3";
			function = "pin_fun1";
		};

		regulators {
			vdd_gpu_s0: vdd_gpu_mem_s0: dcdc-reg1 {
				regulator-name = "vdd_gpu_s0";
				regulator-boot-on;
				regulator-min-microvolt = <550000>;
				regulator-max-microvolt = <950000>;
				regulator-ramp-delay = <12500>;
				regulator-enable-ramp-delay = <400>;

				regulator-state-mem {
					regulator-off-in-suspend;
				};
			};

			vdd_cpu_lit_s0: vdd_cpu_lit_mem_s0: dcdc-reg2 {
				regulator-name = "vdd_cpu_lit_s0";
				regulator-always-on;
				regulator-boot-on;
				regulator-min-microvolt = <550000>;
				regulator-max-microvolt = <950000>;
				regulator-ramp-delay = <12500>;

				regulator-state-mem {
					regulator-off-in-suspend;
				};
			};

			vdd_log_s0: dcdc-reg3 {
				regulator-name = "vdd_log_s0";
				regulator-always-on;
				regulator-boot-on;
				regulator-min-microvolt = <675000>;
				regulator-max-microvolt = <750000>;
				regulator-ramp-delay = <12500>;

				regulator-state-mem {
					regulator-off-in-suspend;
					regulator-suspend-microvolt = <750000>;
				};
			};

			vdd_vdenc_s0: vdd_vdenc_mem_s0: dcdc-reg4 {
				regulator-name = "vdd_vdenc_s0";
				regulator-always-on;
				regulator-boot-on;
				regulator-min-microvolt = <550000>;
				regulator-max-microvolt = <950000>;
				regulator-ramp-delay = <12500>;

				regulator-state-mem {
					regulator-off-in-suspend;
				};
			};

			vdd_ddr_s0: dcdc-reg5 {
				regulator-name = "vdd_ddr_s0";
				regulator-always-on;
				regulator-boot-on;
				regulator-min-microvolt = <675000>;
				regulator-max-microvolt = <900000>;
				regulator-ramp-delay = <12500>;

				regulator-state-mem {
					regulator-off-in-suspend;
					regulator-suspend-microvolt = <850000>;
				};
			};

			vdd2_ddr_s3: dcdc-reg6 {
				regulator-name = "vdd2_ddr_s3";
				regulator-always-on;
				regulator-boot-on;

				regulator-state-mem {
					regulator-on-in-suspend;
				};
			};

			vcc_2v0_pldo_s3: dcdc-reg7 {
				regulator-name = "vdd_2v0_pldo_s3";
				regulator-always-on;
				regulator-boot-on;
				regulator-min-microvolt = <2000000>;
				regulator-max-microvolt = <2000000>;
				regulator-ramp-delay = <12500>;

				regulator-state-mem {
					regulator-on-in-suspend;
					regulator-suspend-microvolt = <2000000>;
				};
			};

			vcc_3v3_pmu: vcc_3v3_s3: dcdc-reg8 {
				regulator-name = "vcc_3v3_s3";
				regulator-always-on;
				regulator-boot-on;
				regulator-min-microvolt = <3300000>;
				regulator-max-microvolt = <3300000>;

				regulator-state-mem {
					regulator-on-in-suspend;
					regulator-suspend-microvolt = <3300000>;
				};
			};

			vddq_ddr_s0: dcdc-reg9 {
				regulator-name = "vddq_ddr_s0";
				regulator-always-on;
				regulator-boot-on;

				regulator-state-mem {
					regulator-off-in-suspend;
				};
			};

			vcc_1v8_s3: dcdc-reg10 {
				regulator-name = "vcc_1v8_s3";
				regulator-always-on;
				regulator-boot-on;
				regulator-min-microvolt = <1800000>;
				regulator-max-microvolt = <1800000>;

				regulator-state-mem {
					regulator-on-in-suspend;
					regulator-suspend-microvolt = <1800000>;
				};
			};

			avcc_1v8_s0: pldo-reg1 {
				regulator-name = "avcc_1v8_s0";
				regulator-always-on;
				regulator-boot-on;
				regulator-min-microvolt = <1800000>;
				regulator-max-microvolt = <1800000>;

				regulator-state-mem {
					regulator-off-in-suspend;
				};
			};

			vcc_1v8_s0: pldo-reg2 {
				regulator-name = "vcc_1v8_s0";
				regulator-always-on;
				regulator-boot-on;
				regulator-min-microvolt = <1800000>;
				regulator-max-microvolt = <1800000>;

				regulator-state-mem {
					regulator-off-in-suspend;
					regulator-suspend-microvolt = <1800000>;
				};
			};

			avdd_1v2_s0: pldo-reg3 {
				regulator-name = "avdd_1v2_s0";
				regulator-always-on;
				regulator-boot-on;
				regulator-min-microvolt = <1200000>;
				regulator-max-microvolt = <1200000>;

				regulator-state-mem {
					regulator-off-in-suspend;
				};
			};

			vcc_3v3_s0: pldo-reg4 {
				regulator-name = "vcc_3v3_s0";
				regulator-always-on;
				regulator-boot-on;
				regulator-min-microvolt = <3300000>;
				regulator-max-microvolt = <3300000>;
				regulator-ramp-delay = <12500>;

				regulator-state-mem {
					regulator-off-in-suspend;
				};
			};

			vccio_sd_s0: pldo-reg5 {
				regulator-name = "vccio_sd_s0";
				regulator-always-on;
				regulator-boot-on;
				regulator-min-microvolt = <1800000>;
				regulator-max-microvolt = <3300000>;
				regulator-ramp-delay = <12500>;

				regulator-state-mem {
					regulator-off-in-suspend;
				};
			};

			pldo6_s3: pldo-reg6 {
				regulator-name = "pldo6_s3";
				regulator-always-on;
				regulator-boot-on;
				regulator-min-microvolt = <1800000>;
				regulator-max-microvolt = <1800000>;

				regulator-state-mem {
					regulator-on-in-suspend;
					regulator-suspend-microvolt = <1800000>;
				};
			};

			vdd_0v75_s3: nldo-reg1 {
				regulator-name = "vdd_0v75_s3";
				regulator-always-on;
				regulator-boot-on;
				regulator-min-microvolt = <750000>;
				regulator-max-microvolt = <750000>;

				regulator-state-mem {
					regulator-on-in-suspend;
					regulator-suspend-microvolt = <750000>;
				};
			};

			vdd_ddr_pll_s0: nldo-reg2 {
				regulator-name = "vdd_ddr_pll_s0";
				regulator-always-on;
				regulator-boot-on;
				regulator-min-microvolt = <850000>;
				regulator-max-microvolt = <850000>;

				regulator-state-mem {
					regulator-off-in-suspend;
					regulator-suspend-microvolt = <850000>;
				};
			};

			avdd_0v75_s0: nldo-reg3 {
				regulator-name = "avdd_0v75_s0";
				regulator-always-on;
				regulator-boot-on;
				regulator-min-microvolt = <750000>;
				regulator-max-microvolt = <750000>;

				regulator-state-mem {
					regulator-off-in-suspend;
				};
			};

			vdd_0v85_s0: nldo-reg4 {
				regulator-name = "vdd_0v85_s0";
				regulator-always-on;
				regulator-boot-on;
				regulator-min-microvolt = <850000>;
				regulator-max-microvolt = <850000>;

				regulator-state-mem {
					regulator-off-in-suspend;
				};
			};

			vdd_0v75_s0: nldo-reg5 {
				regulator-name = "vdd_0v75_s0";
				regulator-always-on;
				regulator-boot-on;
				regulator-min-microvolt = <750000>;
				regulator-max-microvolt = <750000>;

				regulator-state-mem {
					regulator-off-in-suspend;
				};
			};
		};
	};
};

&u2phy0 {
	status = "okay";
};

&u2phy0_otg {
	vbus-supply = <&vcc5v0_otg>;
	status = "okay";
};

&u2phy2 {
	status = "okay";
};

&u2phy2_host {
	phy-supply = <&vcc5v0_host>;
	status = "okay";
};

&u2phy3 {
	status = "okay";
};

&u2phy3_host {
	phy-supply = <&vcc5v0_host>;
	status = "disabled";
};

&uart2 {
	pinctrl-0 = <&uart2m0_xfer>;
	status = "okay";
};

&uart0 {
	status = "disabled";
};

&pwm2 {
	status = "disabled";
};

&pwm3 {
	status = "disabled";
};

&pwm12 {
	pinctrl-0 = <&pwm12m1_pins>;
	pinctrl-names = "default";
	status = "okay";
};

&uart9 {
	pinctrl-names = "default";
	pinctrl-0 = <&uart9m2_xfer &uart9m2_ctsn &uart9m2_rtsn>;
	status = "okay";
};

&pd_gpu {
	domain-supply = <&vdd_gpu_s0>;
};

&pd_npu {
	domain-supply = <&vdd_npu_s0>;
};

&rknn_core_0 {
	/delete-property/ reg-names;
	/delete-property/ clocks;
	/delete-property/ clock-names;
	/delete-property/ assigned-clocks;
	/delete-property/ assigned-clock-rates;
	/delete-property/ interrupts;
	/delete-property/ interrupt-names;
	/delete-property/ resets;
	/delete-property/ reset-names;
	/delete-property/ power-domains;
	/delete-property/ iommus;

	compatible = "rockchip,rk3588-rknpu";
	reg = <0x0 0xfdab0000 0x0 0x10000>,
	      <0x0 0xfdac0000 0x0 0x10000>,
	      <0x0 0xfdad0000 0x0 0x10000>;
	interrupts = <GIC_SPI 110 IRQ_TYPE_LEVEL_HIGH 0>,
		     <GIC_SPI 111 IRQ_TYPE_LEVEL_HIGH 0>,
		     <GIC_SPI 112 IRQ_TYPE_LEVEL_HIGH 0>;
	interrupt-names = "npu0_irq", "npu1_irq", "npu2_irq";
	clocks = <&scmi_clk SCMI_CLK_NPU>,
		 <&cru ACLK_NPU0>, <&cru ACLK_NPU1>, <&cru ACLK_NPU2>,
		 <&cru HCLK_NPU0>, <&cru HCLK_NPU1>, <&cru HCLK_NPU2>,
		 <&cru PCLK_NPU_ROOT>;
	clock-names = "clk_npu", "aclk0", "aclk1", "aclk2",
		      "hclk0", "hclk1", "hclk2", "pclk";
	assigned-clocks = <&scmi_clk SCMI_CLK_NPU>;
	assigned-clock-rates = <200000000>;
	resets = <&cru SRST_A_RKNN0>, <&cru SRST_A_RKNN1>, <&cru SRST_A_RKNN2>,
		 <&cru SRST_H_RKNN0>, <&cru SRST_H_RKNN1>, <&cru SRST_H_RKNN2>;
	reset-names = "srst_a0", "srst_a1", "srst_a2",
		      "srst_h0", "srst_h1", "srst_h2";
	power-domains = <&power RK3588_PD_NPUTOP>,
			<&power RK3588_PD_NPU1>,
			<&power RK3588_PD_NPU2>;
	power-domain-names = "npu0", "npu1", "npu2";
	operating-points-v2 = <&npu_opp_table>;
	iommus = <&rknn_mmu_0>;
	rknpu-supply = <&vdd_npu_s0>;
	mem-supply = <&vdd_npu_s0>;
	status = "okay";
};

&rknn_core_1 {
	status = "disabled";
};

&rknn_core_2 {
	status = "disabled";
};

&rknn_mmu_0 {
	compatible = "rockchip,iommu-v2";
	reg = <0x0 0xfdab9000 0x0 0x100>,
	      <0x0 0xfdaba000 0x0 0x100>,
	      <0x0 0xfdaca000 0x0 0x100>,
	      <0x0 0xfdada000 0x0 0x100>;
	interrupts = <GIC_SPI 110 IRQ_TYPE_LEVEL_HIGH 0>,
		     <GIC_SPI 111 IRQ_TYPE_LEVEL_HIGH 0>,
		     <GIC_SPI 112 IRQ_TYPE_LEVEL_HIGH 0>;
	interrupt-names = "npu0_mmu", "npu1_mmu", "npu2_mmu";
	clocks = <&cru ACLK_NPU0>, <&cru ACLK_NPU1>, <&cru ACLK_NPU2>,
		 <&cru HCLK_NPU0>, <&cru HCLK_NPU1>, <&cru HCLK_NPU2>;
	clock-names = "aclk0", "aclk1", "aclk2", "iface0", "iface1", "iface2";
	#iommu-cells = <0>;
	status = "okay";
};

&rknn_mmu_1 {
	status = "disabled";
};

&rknn_mmu_2 {
	status = "disabled";
};

&usbdp_phy0 {
	status = "okay";
};

&usb_host0_ehci {
	status = "okay";
};

&usb_host0_ohci {
	status = "okay";
};

&usb_host0_xhci {
	dr_mode = "host";
	snps,parkmode-disable-ss-quirk;
	quirk-skip-phy-init;
	status = "okay";
};

&usb_host1_ehci {
	status = "disabled";
};

&usb_host1_ohci {
	status = "disabled";
};

&vp0 {
	vp0_out_hdmi0: endpoint@ROCKCHIP_VOP2_EP_HDMI0 {
		reg = <ROCKCHIP_VOP2_EP_HDMI0>;
		remote-endpoint = <&hdmi0_in_vp0>;
	};
};

&vop_mmu {
	status = "okay";
};

&vop {
	status = "okay";
};

&i2s5_8ch {
	status = "okay";
};
